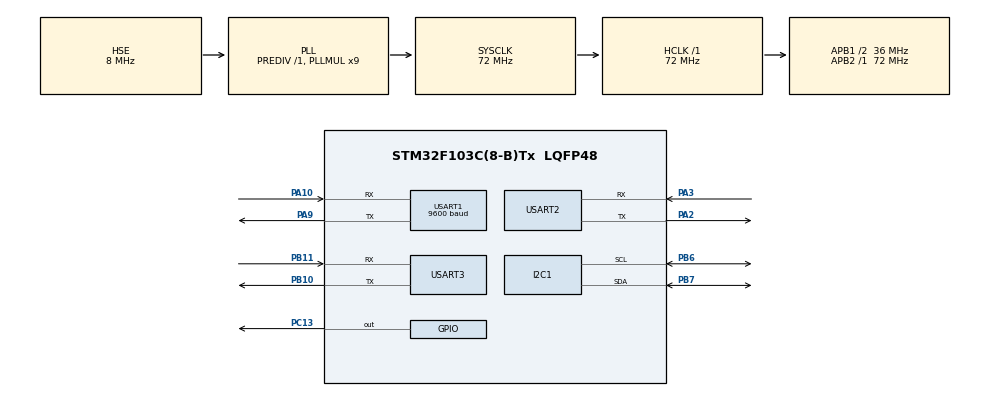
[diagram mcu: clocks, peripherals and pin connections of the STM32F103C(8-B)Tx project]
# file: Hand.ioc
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I2C1.I2C_Mode=I2C_Fast
Mcu.Family=STM32F1
Mcu.Name=STM32F103C(8-B)Tx
Mcu.Package=LQFP48
NVIC.PriorityGroup=NVIC_PRIORITYGROUP_4
NVIC.TIM3_IRQn=true\:0\:0\:false\:false\:true\:true
NVIC.USART1_IRQn=true\:0\:0\:false\:false\:true\:true
NVIC.USART2_IRQn=true\:0\:0\:false\:false\:true\:true
PA10.Mode=Asynchronous
PA10.Signal=USART1_RX
PA13.Mode=Serial_Wire
PA13.Signal=SYS_JTMS-SWDIO
PA14.Mode=Serial_Wire
PA14.Signal=SYS_JTCK-SWCLK
PA2.Mode=Asynchronous
PA2.Signal=USART2_TX
PA3.Mode=Asynchronous
PA3.Signal=USART2_RX
PA9.Mode=Asynchronous
PA9.Signal=USART1_TX
PB10.Mode=Asynchronous
PB10.Signal=USART3_TX
PB11.Mode=Asynchronous
PB11.Signal=USART3_RX
PB6.Mode=I2C
PB6.Signal=I2C1_SCL
PB7.Mode=I2C
PB7.Signal=I2C1_SDA
PC13-TAMPER-RTC.Signal=GPIO_Output
PD0-OSC_IN.Mode=HSE-External-Oscillator
PD0-OSC_IN.Signal=RCC_OSC_IN
PD1-OSC_OUT.Mode=HSE-External-Oscillator
PD1-OSC_OUT.Signal=RCC_OSC_OUT
ProjectManager.HeapSize=0x200
ProjectManager.StackSize=0x400
ProjectManager.TargetToolchain=MDK-ARM V5
RCC.AHBFreq_Value=72000000
RCC.APB1CLKDivider=RCC_HCLK_DIV2
RCC.APB1Freq_Value=36000000
RCC.APB1TimFreq_Value=72000000
RCC.APB2Freq_Value=72000000
RCC.APB2TimFreq_Value=72000000
RCC.HCLKFreq_Value=72000000
RCC.PLLMUL=RCC_PLL_MUL9
RCC.PLLSourceVirtual=RCC_PLLSOURCE_HSE
RCC.SYSCLKFreq_VALUE=72000000
RCC.SYSCLKSource=RCC_SYSCLKSOURCE_PLLCLK
RCC.USBFreq_Value=72000000
TIM3.Period=50
TIM3.Prescaler=35999
USART1.BaudRate=9600
USART1.VirtualMode=VM_ASYNC
USART2.VirtualMode=VM_ASYNC
USART3.VirtualMode=VM_ASYNC
VP_TIM3_VS_ClockSourceINT.Mode=Internal
board=custom

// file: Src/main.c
/**
  ******************************************************************************
  * @file           : main.c
  * @brief          : Main program body
  ******************************************************************************
  ** This notice applies to any and all portions of this file
  * that are not between comment pairs USER CODE BEGIN and
  * USER CODE END. Other portions of this file, whether
  * inserted by the user or by software development tools
  * are owned by their respective copyright owners.
  *
  * COPYRIGHT(c) 2018 STMicroelectronics
  *
  * Redistribution and use in source and binary forms, with or without modification,
  * are permitted provided that the following conditions are met:
  *   1. Redistributions of source code must retain the above copyright notice,
  *      this list of conditions and the following disclaimer.
  *   2. Redistributions in binary form must reproduce the above copyright notice,
  *      this list of conditions and the following disclaimer in the documentation
  *      and/or other materials provided with the distribution.
  *   3. Neither the name of STMicroelectronics nor the names of its contributors
  *      may be used to endorse or promote products derived from this software
  *      without specific prior written permission.
  *
  * THIS SOFTWARE IS PROVIDED BY THE COPYRIGHT HOLDERS AND CONTRIBUTORS "AS IS"
  * AND ANY EXPRESS OR IMPLIED WARRANTIES, INCLUDING, BUT NOT LIMITED TO, THE
  * IMPLIED WARRANTIES OF MERCHANTABILITY AND FITNESS FOR A PARTICULAR PURPOSE ARE
  * DISCLAIMED. IN NO EVENT SHALL THE COPYRIGHT HOLDER OR CONTRIBUTORS BE LIABLE
  * FOR ANY DIRECT, INDIRECT, INCIDENTAL, SPECIAL, EXEMPLARY, OR CONSEQUENTIAL
  * DAMAGES (INCLUDING, BUT NOT LIMITED TO, PROCUREMENT OF SUBSTITUTE GOODS OR
  * SERVICES; LOSS OF USE, DATA, OR PROFITS; OR BUSINESS INTERRUPTION) HOWEVER
  * CAUSED AND ON ANY THEORY OF LIABILITY, WHETHER IN CONTRACT, STRICT LIABILITY,
  * OR TORT (INCLUDING NEGLIGENCE OR OTHERWISE) ARISING IN ANY WAY OUT OF THE USE
  * OF THIS SOFTWARE, EVEN IF ADVISED OF THE POSSIBILITY OF SUCH DAMAGE.
  *
  ******************************************************************************
  */
#include "main.h"
#include "stm32f1xx_hal.h"

/* USER CODE BEGIN Includes */
#include "ssd1306.h"
#include <math.h>
/* USER CODE END Includes */

I2C_HandleTypeDef hi2c1;

TIM_HandleTypeDef htim3;

UART_HandleTypeDef huart1;
UART_HandleTypeDef huart2;
UART_HandleTypeDef huart3;

/* USER CODE BEGIN PV */
/* Private variables ---------------------------------------------------------*/
//  // Registers accselerometr.
uint8_t Device_ID=0xE5;
uint8_t Device_addres=0x53;
uint8_t DEVID=0x00;
uint8_t DATAX0=0x32;
uint8_t DATAX1=0x33;
uint8_t DATAY0=0x34;
uint8_t DATAY1=0x35;
uint8_t DATAZ0=0x36;
uint8_t DATAZ1=0x37;
uint8_t BW_RATE=0x2C;								//Data rate and power mode control
uint8_t POWER_CTL=0x2D; 						//Power-saving features control
uint8_t DATA_FORMAT=0x31;						//Data format control
// Data from accselerometr
float X=0;
float Y=0;
float Z=0;
int16_t ACCEL_XANGLE=0;
int16_t ACCEL_YANGLE=0;
int16_t ACCEL_ZANGLE=0;

// Bufers for UART
//int i=0;
int len;
char buffer[100];
char Rx_indx, Rx_data[2],Rx_Buffer[100],Transfer_cplt;
/* USER CODE END PV */

void SystemClock_Config(void);
static void MX_GPIO_Init(void);
static void MX_USART1_UART_Init(void);
static void MX_USART2_UART_Init(void);
static void MX_USART3_UART_Init(void);
static void MX_TIM3_Init(void);
static void MX_I2C1_Init(void);

/* USER CODE BEGIN PFP */
/* Private function prototypes -----------------------------------------------*/

/* USER CODE END PFP */

/* USER CODE BEGIN 0 */

void I2C_scaner(void);
void init_ADXL345(void);
void init_oled(void);
void STOP(void);
void FORWARD(void);
void BACK(void);
void LEFT(void);
void RIGHT(void);
void transmit_data_in_comport(void);
void transmit_data_in_BLUETOOTH(void);
void drow_data_on_OLED(void);
void convert_accel_data_in_angle(void);
void HAL_UART_RxCpltCallback(UART_HandleTypeDef *huart2);
/* USER CODE END 0 */

int main(void)
{

  /* MCU Configuration----------------------------------------------------------*/

  /* Reset of all peripherals, Initializes the Flash interface and the Systick. */
  HAL_Init();

  /* Configure the system clock */
  SystemClock_Config();

  /* Initialize all configured peripherals */
  MX_GPIO_Init();
  MX_USART1_UART_Init();
  MX_USART2_UART_Init();
  MX_USART3_UART_Init();
  MX_TIM3_Init();
  MX_I2C1_Init();
  /* USER CODE BEGIN 2 */
  init_ADXL345();    									   // Init  accselerometr
	init_oled();                           // Init OLED and draw lise and words on OLED

	//I2C_scaner();
	//HAL_Delay(1000);

	uint32_t lst = 0, cu;
	uint8_t transmit_test_data=0;

	MX_TIM3_Init();												 // Init Timer
	HAL_TIM_Base_Start(&htim3);    		     // Start Timer1
	HAL_TIM_Base_Start_IT(&htim3);
	HAL_UART_Receive_IT(&huart2 ,(uint8_t*) Rx_data,1);    // Start UART
//	HAL_Delay(2000);
//	I2C_scaner();

  /* USER CODE END 2 */

  /* Infinite loop */
  /* USER CODE BEGIN WHILE */
  while (1)
  {
		// Test UART--------------------------------------------------
		if(Transfer_cplt)   // If string hes Enter/#013 in the end transmiting paket.
		{
				  sprintf(buffer, "%s\r\n",Rx_Buffer);
			    len=strlen(buffer);
					HAL_UART_Transmit(&huart2, (uint8_t *)buffer, len, 1000);  // Transmit data
			    Transfer_cplt=0;

			    if((uint8_t)Rx_Buffer[0]==0x31)   // '1'
					{
						  sprintf(buffer, "1111111\r\n");
			        len=strlen(buffer);
					    HAL_UART_Transmit(&huart2, (uint8_t *)buffer, len, 1000);  // Transmit data
			        Transfer_cplt=0;
					}
					if((uint8_t)Rx_Buffer[0]==0x32)    // '2'
					{
						  sprintf(buffer, "22222222\r\n");
			        len=strlen(buffer);
					    HAL_UART_Transmit(&huart2, (uint8_t *)buffer, len, 1000);  // Transmit data
			        Transfer_cplt=0;
					}

			    HAL_Delay(2000);
		}
		//-----------------------------------------------------------

				  transmit_data_in_comport();						// Transmit data in COMport
				  transmit_data_in_BLUETOOTH();					// Transmit data in bluetooth module

					HAL_TIM_Base_Stop(&htim3);									// Stop work timmer, for corect print data

		      drow_data_on_OLED();   											// Print data acseleration on OLED

					HAL_TIM_Base_Start(&htim3);

	}

  /* USER CODE END WHILE */

}

void SystemClock_Config(void)
{

  RCC_OscInitTypeDef RCC_OscInitStruct;
  RCC_ClkInitTypeDef RCC_ClkInitStruct;

    /**Initializes the CPU, AHB and APB busses clocks
    */
  RCC_OscInitStruct.OscillatorType = RCC_OSCILLATORTYPE_HSE;
  RCC_OscInitStruct.HSEState = RCC_HSE_ON;
  RCC_OscInitStruct.HSEPredivValue = RCC_HSE_PREDIV_DIV1;
  RCC_OscInitStruct.HSIState = RCC_HSI_ON;
  RCC_OscInitStruct.PLL.PLLState = RCC_PLL_ON;
  RCC_OscInitStruct.PLL.PLLSource = RCC_PLLSOURCE_HSE;
  RCC_OscInitStruct.PLL.PLLMUL = RCC_PLL_MUL9;
  if (HAL_RCC_OscConfig(&RCC_OscInitStruct) != HAL_OK)
  {
    _Error_Handler(__FILE__, __LINE__);
  }

    /**Initializes the CPU, AHB and APB busses clocks
    */
  RCC_ClkInitStruct.ClockType = RCC_CLOCKTYPE_HCLK|RCC_CLOCKTYPE_SYSCLK
                              |RCC_CLOCKTYPE_PCLK1|RCC_CLOCKTYPE_PCLK2;
  RCC_ClkInitStruct.SYSCLKSource = RCC_SYSCLKSOURCE_PLLCLK;
  RCC_ClkInitStruct.AHBCLKDivider = RCC_SYSCLK_DIV1;
  RCC_ClkInitStruct.APB1CLKDivider = RCC_HCLK_DIV2;
  RCC_ClkInitStruct.APB2CLKDivider = RCC_HCLK_DIV1;

  if (HAL_RCC_ClockConfig(&RCC_ClkInitStruct, FLASH_LATENCY_2) != HAL_OK)
  {
    _Error_Handler(__FILE__, __LINE__);
  }

    /**Configure the Systick interrupt time
    */
  HAL_SYSTICK_Config(HAL_RCC_GetHCLKFreq()/1000);

    /**Configure the Systick
    */
  HAL_SYSTICK_CLKSourceConfig(SYSTICK_CLKSOURCE_HCLK);

  /* SysTick_IRQn interrupt configuration */
  HAL_NVIC_SetPriority(SysTick_IRQn, 0, 0);
}

/* I2C1 init function */
static void MX_I2C1_Init(void)
{

  hi2c1.Instance = I2C1;
  hi2c1.Init.ClockSpeed = 400000;
  hi2c1.Init.DutyCycle = I2C_DUTYCYCLE_2;
  hi2c1.Init.OwnAddress1 = 0;
  hi2c1.Init.AddressingMode = I2C_ADDRESSINGMODE_7BIT;
  hi2c1.Init.DualAddressMode = I2C_DUALADDRESS_DISABLE;
  hi2c1.Init.OwnAddress2 = 0;
  hi2c1.Init.GeneralCallMode = I2C_GENERALCALL_DISABLE;
  hi2c1.Init.NoStretchMode = I2C_NOSTRETCH_DISABLE;
  if (HAL_I2C_Init(&hi2c1) != HAL_OK)
  {
    _Error_Handler(__FILE__, __LINE__);
  }

}

/* TIM3 init function */
static void MX_TIM3_Init(void)
{

  TIM_ClockConfigTypeDef sClockSourceConfig;
  TIM_MasterConfigTypeDef sMasterConfig;

  htim3.Instance = TIM3;
  htim3.Init.Prescaler = 35999;
  htim3.Init.CounterMode = TIM_COUNTERMODE_UP;
  htim3.Init.Period = 50;
  htim3.Init.ClockDivision = TIM_CLOCKDIVISION_DIV1;
  htim3.Init.AutoReloadPreload = TIM_AUTORELOAD_PRELOAD_DISABLE;
  if (HAL_TIM_Base_Init(&htim3) != HAL_OK)
  {
    _Error_Handler(__FILE__, __LINE__);
  }

  sClockSourceConfig.ClockSource = TIM_CLOCKSOURCE_INTERNAL;
  if (HAL_TIM_ConfigClockSource(&htim3, &sClockSourceConfig) != HAL_OK)
  {
    _Error_Handler(__FILE__, __LINE__);
  }

  sMasterConfig.MasterOutputTrigger = TIM_TRGO_RESET;
  sMasterConfig.MasterSlaveMode = TIM_MASTERSLAVEMODE_DISABLE;
  if (HAL_TIMEx_MasterConfigSynchronization(&htim3, &sMasterConfig) != HAL_OK)
  {
    _Error_Handler(__FILE__, __LINE__);
  }

}

/* USART1 init function */
static void MX_USART1_UART_Init(void)
{

  huart1.Instance = USART1;
  huart1.Init.BaudRate = 9600;
  huart1.Init.WordLength = UART_WORDLENGTH_8B;
  huart1.Init.StopBits = UART_STOPBITS_1;
  huart1.Init.Parity = UART_PARITY_NONE;
  huart1.Init.Mode = UART_MODE_TX_RX;
  huart1.Init.HwFlowCtl = UART_HWCONTROL_NONE;
  huart1.Init.OverSampling = UART_OVERSAMPLING_16;
  if (HAL_UART_Init(&huart1) != HAL_OK)
  {
    _Error_Handler(__FILE__, __LINE__);
  }

}

/* USART2 init function */
static void MX_USART2_UART_Init(void)
{

  huart2.Instance = USART2;
  huart2.Init.BaudRate = 115200;
  huart2.Init.WordLength = UART_WORDLENGTH_8B;
  huart2.Init.StopBits = UART_STOPBITS_1;
  huart2.Init.Parity = UART_PARITY_NONE;
  huart2.Init.Mode = UART_MODE_TX_RX;
  huart2.Init.HwFlowCtl = UART_HWCONTROL_NONE;
  huart2.Init.OverSampling = UART_OVERSAMPLING_16;
  if (HAL_UART_Init(&huart2) != HAL_OK)
  {
    _Error_Handler(__FILE__, __LINE__);
  }

}

/* USART3 init function */
static void MX_USART3_UART_Init(void)
{

  huart3.Instance = USART3;
  huart3.Init.BaudRate = 115200;
  huart3.Init.WordLength = UART_WORDLENGTH_8B;
  huart3.Init.StopBits = UART_STOPBITS_1;
  huart3.Init.Parity = UART_PARITY_NONE;
  huart3.Init.Mode = UART_MODE_TX_RX;
  huart3.Init.HwFlowCtl = UART_HWCONTROL_NONE;
  huart3.Init.OverSampling = UART_OVERSAMPLING_16;
  if (HAL_UART_Init(&huart3) != HAL_OK)
  {
    _Error_Handler(__FILE__, __LINE__);
  }

}

/** Configure pins as
        * Analog
        * Input
        * Output
        * EVENT_OUT
        * EXTI
*/
static void MX_GPIO_Init(void)
{

  GPIO_InitTypeDef GPIO_InitStruct;

  /* GPIO Ports Clock Enable */
  __HAL_RCC_GPIOC_CLK_ENABLE();
  __HAL_RCC_GPIOD_CLK_ENABLE();
  __HAL_RCC_GPIOA_CLK_ENABLE();
  __HAL_RCC_GPIOB_CLK_ENABLE();

  /*Configure GPIO pin Output Level */
  HAL_GPIO_WritePin(GPIOC, GPIO_PIN_13, GPIO_PIN_RESET);

  /*Configure GPIO pin : PC13 */
  GPIO_InitStruct.Pin = GPIO_PIN_13;
  GPIO_InitStruct.Mode = GPIO_MODE_OUTPUT_PP;
  GPIO_InitStruct.Pull = GPIO_NOPULL;
  GPIO_InitStruct.Speed = GPIO_SPEED_FREQ_LOW;
  HAL_GPIO_Init(GPIOC, &GPIO_InitStruct);

}

/* USER CODE BEGIN 4 */
void I2C_scaner(void)
{

	/*Description function
	This function search devise connected to I2C in this case -hi2c1.
	After thet function print in console information about what to connect to I2C.
	*/
	#define DEVICE_FOUND  0
	uint8_t addres_devise=0x00;;      //ADRESS_MPU6050=0x68; -> return 0  ,   DRESS_MS5611=0x77;-> return 0
	uint8_t addr=0;
	uint16_t sizebuf=1;								// size how many data we receive from devise
	uint8_t buff=0;										// data for receive
	uint32_t timeout=1000;						// timeout for receive
  uint16_t STATUS=0;								// Status connect to device (if STATUS==0 - device if found, if STATUS==1 - device if not found)
	uint8_t number_of_device=0;				// How many device controller is found

	uint8_t size=0;
	char str3[35]={0};
	uint8_t size_mas=sizeof(str3);
	uint8_t i=0;

	sprintf(str3,"SEARCH DEVISES... \r\n");      										// convert   in  str
	size=sizeof(str3);
	HAL_UART_Transmit(&huart2 , (uint8_t *)str3, size, 0xFFFF);
	HAL_Delay(500);
	for(addres_devise=0x00;addres_devise<0x7F;addres_devise++)
	{
			HAL_Delay(10);
			STATUS=HAL_I2C_Mem_Read(&hi2c1, (uint16_t)addres_devise<<1,(uint16_t)addr, (uint16_t) sizebuf, &buff, (uint16_t) sizebuf,(uint32_t) timeout);
			if(STATUS==DEVICE_FOUND)																		// if devsice is found
			{
				  for(i=0;i<size_mas;i++)    															// Delete data in str3[]
					{
						str3[i]=0;
					}
					sprintf(str3,"Device address-0x%x - found \r\n",addres_devise);      // convert   in  str
					size=sizeof(str3);
					HAL_UART_Transmit(&huart2 , (uint8_t *)str3, size, 0xFFFF);
					number_of_device++;
			}
	}
	if(number_of_device==0)  																				// If devices nofound
	{
			for(i=0;i<size_mas;i++)				 															// Delete data in str3[]
			{
				str3[i]=0;
			}
			sprintf(str3,"Devices no found!!!\r\n");      							// convert   in  str
			size=sizeof(str3);
			HAL_UART_Transmit(&huart2 , (uint8_t *)str3, size, 0xFFFF);
	}
	HAL_Delay(500);
	for(i=0;i<size_mas;i++)																					// Delete data in str3[]
	{
		str3[i]=0;
	}
	sprintf(str3,"DONE\r\n");      																	// convert   in  str
	size=sizeof(str3);
	HAL_UART_Transmit(&huart2 , (uint8_t *)str3, size, 0xFFFF);
}

///////////////////////////////////////////////////////////////////////////////////////////////
void init_ADXL345(void)
{
		// Device ID
	  uint8_t sizebuf=1;
		uint16_t timeout=1000;
		char str1[40]={0};
		uint8_t size=0;
		uint8_t who_i_am_buffer=0x00;
		HAL_I2C_Mem_Read(&hi2c1, (uint16_t)Device_addres<<1,(uint16_t)DEVID, (uint16_t) sizebuf, &who_i_am_buffer, (uint16_t) sizebuf,(uint32_t) timeout);
	  if(who_i_am_buffer!=Device_ID)
		{
				sprintf(str1,"CONNECTION_TO_ADXL345_ERROR!!! \r\n");                		  					// convert   in  str
				size=sizeof(str1);
				HAL_UART_Transmit(&huart2 , (uint8_t *)str1, size, 0xFFFF);     // send  new  line  in  com  port
				HAL_Delay(4000);
		}
		else
		{
				sprintf(str1,"CONNECTION_TO_ADXL345_OK   \r\n");                		  						// convert  in  str
				size=sizeof(str1);
				HAL_UART_Transmit(&huart2 , (uint8_t *)str1, size, 0xFFFF);     // send  new  line  in  com  port
				HAL_Delay(200);
		}
		//

    //Init registers
		uint8_t POWER_CTL_CONFIGURE=0x08;
		HAL_I2C_Mem_Write(&hi2c1, (uint16_t) Device_addres<<1, (uint16_t) POWER_CTL, (uint16_t) 1, &POWER_CTL_CONFIGURE, (uint16_t) 1, (uint32_t) 1000);
		HAL_Delay(20);
		uint8_t DATA_FORMAT_CONFIGURE=0x03;   // Measure 16 G
		HAL_I2C_Mem_Write(&hi2c1, (uint16_t) Device_addres<<1, (uint16_t) DATA_FORMAT, (uint16_t) 1, &DATA_FORMAT_CONFIGURE, (uint16_t) 1, (uint32_t) 1000);
		HAL_Delay(20);
    //

		// Test read configure registers.
		uint8_t sizebuf_1=1;
		uint8_t POWER_CTL_buffer=0;
		uint8_t BW_RATE_buffer=0;
		uint8_t DATA_FORMAT_buffer=0;
		uint16_t timeout_1=0x100;
		HAL_I2C_Mem_Read(&hi2c1, (uint16_t)Device_addres<<1,(uint16_t)POWER_CTL, (uint16_t) sizebuf_1, &POWER_CTL_buffer, (uint16_t) sizebuf,(uint32_t) timeout_1);
		HAL_I2C_Mem_Read(&hi2c1, (uint16_t)Device_addres<<1,(uint16_t)BW_RATE, (uint16_t) sizebuf_1, &BW_RATE_buffer, (uint16_t) sizebuf,(uint32_t) timeout_1);
		HAL_I2C_Mem_Read(&hi2c1, (uint16_t)Device_addres<<1,(uint16_t)DATA_FORMAT, (uint16_t) sizebuf_1, &DATA_FORMAT_buffer, (uint16_t) sizebuf,(uint32_t) timeout_1);

		char str6[70]={0};
		sprintf(str6,"BUF:   POWER_CTL- %X, BW_RATE- %X, DATA_FORMAT- %X \r\n",POWER_CTL_buffer, BW_RATE_buffer, DATA_FORMAT_buffer);                		  	// convert   in  str
		uint8_t size_1=0;
		size_1=sizeof(str6);
		HAL_UART_Transmit(&huart2 , (uint8_t *)str6, size_1, 0xFFFF);     // send  new  line  in  com  port
		//HAL_Delay(2000);
		//
}

///////////////////////////////////////////////////////////////////////////////////////////////
void data_from_ADXL345(void)
{

	    int16_t X_acc_value=0;
	    int16_t Y_acc_value=0;
			int16_t Z_acc_value=0;
	    uint16_t status=0;
			char str1[40]={0};
			uint8_t sizebuf=1;
			uint8_t sizebuf_data=6;
			uint8_t buffer_XYZ[6]={0};
			uint32_t timeout_1=1000;

			// Read accekeration fron ADXL345
			status=HAL_I2C_Mem_Read(&hi2c1, (uint16_t)Device_addres<<1,(uint16_t)DATAX0, (uint16_t) sizebuf, buffer_XYZ, (uint16_t) sizebuf_data,(uint32_t) 0xff);
			if(status!=HAL_OK)
			{
				// Error handler
				while(1){}
			}
			else
			{
				X_acc_value=(uint16_t)buffer_XYZ[0]<<8|buffer_XYZ[1];
				Y_acc_value=(uint16_t)buffer_XYZ[2]<<8|buffer_XYZ[3];
				Z_acc_value=(uint16_t)buffer_XYZ[4]<<8|buffer_XYZ[5];
			}
			//
			// Convert data in G/s
			X=(float)X_acc_value/8192.0;
			Y=(float)Y_acc_value/8192.0;
			Z=(float)Z_acc_value/8192.0;
			//

//			// Print data
//			sprintf(str1,"X:%.2f  Y:%.2f  Z:%.2f \r\n",X, Y, Z);                		  					// convert   in  str
//			uint8_t size=sizeof(str1);
//			HAL_UART_Transmit(&huart2 , (uint8_t *)str1, size, 0xFF);     // send  new  line  in  com  port

			//
}
///////////////////////////////////////////////////////////////////////////////////////////////
void init_oled(void)
{
			 // Test OLED
			 uint8_t res = SSD1306_Init();
			 char str8[10]={10}; 						// Variable for status OLED
			 if(res==1)
			 {
						sprintf(str8,"OK");
			 }
			 else
			 {
						sprintf(str8,"ERROR!!!!");
			 }
	     //
			 SSD1306_Fill(0);			//Erice  OLED
			 // Running line
			 int x2=0, y2=16;
			 for(x2=0;x2<128;x2++)
			 {
						x2=x2+4;
						SSD1306_DrawLine(0, y2, x2, y2, 1);
						SSD1306_UpdateScreen();
						if(x2>=127)
						{
								SSD1306_DrawLine(0, y2, x2, y2, 0);
								SSD1306_UpdateScreen();
						}
			 }
			 // Draw main figures in OLED
	     uint16_t  r=0;
			 int x1=0, y1=0;
			 x2=0,y2=0; 								  								// Print  text on OLED
			 SSD1306_GotoXY(x1,y1);
			 SSD1306_Puts("ACCELERATION g/sec", &Font_7x10, 1);

			 x1=0,y1=10,x2=130,y2=10;   									// Draw line
			 SSD1306_DrawLine(x1, y1, x2, y2, 1);
			 SSD1306_DrawRectangle(0, 16, 60, 34, 1);    	// Draw rectangle
			 x1=74,y1=38,	r=8;   													// Draw circle  back
			 SSD1306_DrawCircle(x1,y1, r, 1);
			 x1=95,y1=38, r=8;  													// Draw circle  // ser
			 SSD1306_DrawCircle(x1,y1, r, 1);
			 x1=116,y1=38,r=8;														// Draw circle  // First
			 SSD1306_DrawCircle(x1,y1, r, 1);
			 x1=95,y1=22, r=6;  													// Draw circle  // Left
			 SSD1306_DrawCircle(x1,y1, r, 1);
			 x1=95,y1=54, r=6;  													// Draw circle  // Right
			 SSD1306_DrawCircle(x1,y1, r, 1);
			 SSD1306_UpdateScreen();
			 //
}

///////////////////////////////////////////////////////////////////////////////////////////////
void STOP(void)
{
				uint16_t  r=0;
			  int x1=0, y1=0;
				// Draw circle
				x1=95,y1=38; r=7;
				SSD1306_DrawFilledCircle(x1,y1, r, 1);
				// Off  all another circle
				x1=116,y1=38;r=7;
				SSD1306_DrawFilledCircle(x1,y1, r, 0);
				x1=74,y1=38; r=7;
				SSD1306_DrawFilledCircle(x1,y1, r, 0);
				x1=95,y1=22;  r=5;
				SSD1306_DrawFilledCircle(x1,y1, r, 0);
				x1=95,y1=54;r=5;
				SSD1306_DrawFilledCircle(x1,y1, r, 0);

				SSD1306_UpdateScreen();
}

///////////////////////////////////////////////////////////////////////////////////////////////
void FORWARD(void)
{
				uint16_t  r=0;
			  int x1=0, y1=0;
				x1=116,y1=38;r=7;
				SSD1306_DrawFilledCircle(x1,y1, r, 1);
				// Off  all another circle
				x1=95,y1=38; r=7;
				SSD1306_DrawFilledCircle(x1,y1, r, 0);
				x1=74,y1=38; r=7;
				SSD1306_DrawFilledCircle(x1,y1, r, 0);
				x1=95,y1=22;  r=5;
				SSD1306_DrawFilledCircle(x1,y1, r, 0);
				x1=95,y1=54;r=5;
				SSD1306_DrawFilledCircle(x1,y1, r, 0);

				SSD1306_UpdateScreen();
}

///////////////////////////////////////////////////////////////////////////////////////////////
void BACK(void)
{
        uint16_t  r=0;
			  int x1=0, y1=0;
				x1=74,y1=38; r=7;
				SSD1306_DrawFilledCircle(x1,y1, r, 1);
				// Off  all another circle
				x1=116,y1=38; r=7;
				SSD1306_DrawFilledCircle(x1,y1, r, 0);
				x1=95,y1=38; r=7;
				SSD1306_DrawFilledCircle(x1,y1, r, 0);
				x1=95,y1=22;  r=5;
				SSD1306_DrawFilledCircle(x1,y1, r, 0);
				x1=95,y1=54;r=5;
				SSD1306_DrawFilledCircle(x1,y1, r, 0);

				SSD1306_UpdateScreen();
}

///////////////////////////////////////////////////////////////////////////////////////////////
void LEFT(void)
{
				uint16_t  r=0;
			  int x1=0, y1=0;
				x1=95,y1=22;  r=5;
				SSD1306_DrawFilledCircle(x1,y1, r, 1);
				x1=95,y1=38; r=7;
				// Off  all another circle
				SSD1306_DrawFilledCircle(x1,y1, r, 0);
				x1=116,y1=38;r=7;
				SSD1306_DrawFilledCircle(x1,y1, r, 0);
				x1=74,y1=38; r=7;
				SSD1306_DrawFilledCircle(x1,y1, r, 0);
				x1=95,y1=54;r=5;
				SSD1306_DrawFilledCircle(x1,y1, r, 0);

				SSD1306_UpdateScreen();
}

///////////////////////////////////////////////////////////////////////////////////////////////
void RIGHT(void)
{
				uint16_t  r=0;
			  int x1=0, y1=0;
				x1=95,y1=54;r=5;
				SSD1306_DrawFilledCircle(x1,y1, r, 1);
				// Off  all circle
				x1=116,y1=38;r=7;
				SSD1306_DrawFilledCircle(x1,y1, r, 0);
				x1=95,y1=22;  r=5;
				SSD1306_DrawFilledCircle(x1,y1, r, 0);
				x1=95,y1=38; r=7;
				SSD1306_DrawFilledCircle(x1,y1, r, 0);
				x1=74,y1=38; r=7;
				SSD1306_DrawFilledCircle(x1,y1, r, 0);

				SSD1306_UpdateScreen();
}

void transmit_data_in_comport(void)
{
				uint16_t size=0;
				char buf2[40]={0};
				size=sizeof(buf2);
				sprintf(buf2, "X:%d Y:%d Z:%d \r\n",ACCEL_XANGLE ,ACCEL_YANGLE, ACCEL_ZANGLE);
				HAL_UART_Transmit(&huart2, (uint8_t*) buf2, size, 0xFF);					// Transmit data in COMPORT
}

void transmit_data_in_BLUETOOTH(void)
{
				uint16_t size=0;
				char buf2[40]={0};
				size=sizeof(buf2);
				sprintf(buf2, "X:%d Y:%d Z:%d \r\n",ACCEL_XANGLE,ACCEL_YANGLE, ACCEL_ZANGLE);
				HAL_UART_Transmit(&huart1, (uint8_t*) buf2, size, 0xFF);					// Transmit data in COMPORT
}

void drow_data_on_OLED(void)
{
	        convert_accel_data_in_angle();

          // clear old data from OLED
	        char buf1[5]={0};

					sprintf(buf1, "X:%d",ACCEL_XANGLE);
					SSD1306_GotoXY(3,18);
					SSD1306_Puts(buf1, &Font_7x10, 1);
					sprintf(buf1, "Y:%d",ACCEL_YANGLE);
					SSD1306_GotoXY(3,30);
					SSD1306_Puts(buf1, &Font_7x10, 1);
					sprintf(buf1, "Z:%d",ACCEL_ZANGLE);
					SSD1306_GotoXY(3,40);
					SSD1306_Puts(buf1, &Font_7x10, 1);
					SSD1306_UpdateScreen();
					//

					 // Drow circle and send data in 407
					 if(((X>=-0.2)&(X<=0.2))&((Y>=-0.2)&(Y<=0.2))&((Z>=0.8)&(Z<=1.2)))			// Cheack  data from acceleration  mudule.
					 {
								STOP();						// STOP function drow circle on OLED
								// Send action in 407
								//transmit_test_data='0';			// '0' - stop command
								//HAL_UART_Transmit(&huart1, &transmit_test_data,1, 2);		  // Receive data from bluetooth
					 }
					 else if(X<-0.2)
					 {
								FORWARD();				// FORVARD function drow circle on OLED
								// Send action in 407
								//transmit_test_data='1';			// '1' - stop command
								//HAL_UART_Transmit(&huart1, &transmit_test_data,1, 2);		  // Receive data from bluetooth
					 }
					 else if(X>0.2)
					 {
								BACK();  					// BACK function drow circle on OLED
								// Send action in 407
								//transmit_test_data='2';			// '2' - stop command
								//HAL_UART_Transmit(&huart1, &transmit_test_data,1, 2);		  // Receive data from bluetooth
					 }
					 else if(Y<-0.2)
					 {
								LEFT();           // LEFT function drow circle on OLED
								// Send action in 407
								//transmit_test_data='3';			// '3' - stop command
								//HAL_UART_Transmit(&huart1, &transmit_test_data,1, 2);		  // Receive data from bluetooth
					 }
					 else if(Y>0.2)
					 {
								RIGHT();	        // RIGHT function drow circle on OLED
								// Send action in 407
								//transmit_test_data='4';			// '4' - stop command
								//HAL_UART_Transmit(&huart1, &transmit_test_data,1, 2);		  // Receive data from bluetooth
					 }
}

void convert_accel_data_in_angle(void)
{
			//Convert accelerometr data in angle
			// FORMULA ||| X_ANHLE=
			ACCEL_XANGLE = 57.295*atan((float)-X/ sqrt(pow((float)Y,2)+pow((float)Z,2)));
			ACCEL_YANGLE = 57.295*atan((float)-Y/ sqrt(pow((float)X,2)+pow((float)Z,2)));
			ACCEL_ZANGLE = 57.295*atan((float)-Z/ sqrt(pow((float)X,2)+pow((float)Y,2)));
}

void HAL_UART_RxCpltCallback(UART_HandleTypeDef *huart2)
{
	// It finctinon called when in buffer UART has one byte
	uint8_t i;
	if(Rx_indx==0)
	{
			for(i=0;i<100;i++)																	// Clar buffer before receiving nev data.
			{
					Rx_Buffer[i]=0;
			}
		}
	if(Rx_data[0]!=13)																			// If check if it byte is not "Enter".
	{
			Rx_Buffer[Rx_indx++]=Rx_data[0];
	}
	else
	{
		Rx_indx=0;
		Transfer_cplt=1;												 							// Buffer complete, data ready to read.
	}
	HAL_UART_Receive_IT(huart2, (uint8_t*)Rx_data,1);
}

/* USER CODE END 4 */

void _Error_Handler(char *file, int line)
{
  while(1)
  {
  }
}

/************************ (C) COPYRIGHT STMicroelectronics *****END OF FILE****/
